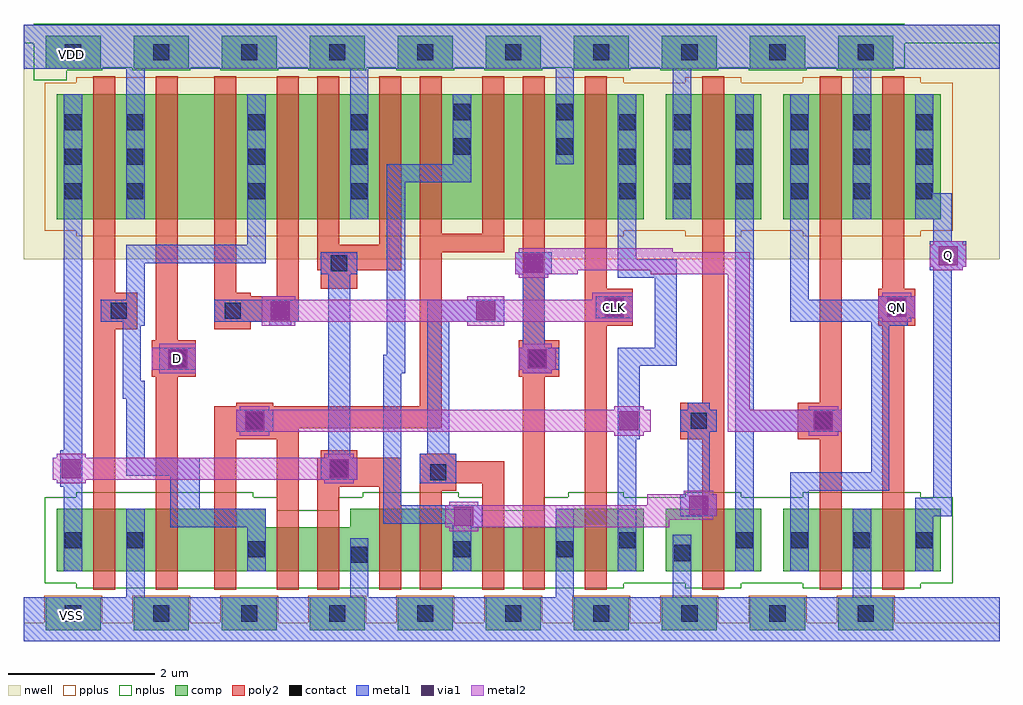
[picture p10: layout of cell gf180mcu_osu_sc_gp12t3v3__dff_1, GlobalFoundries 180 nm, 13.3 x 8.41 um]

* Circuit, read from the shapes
.subckt gf180mcu_osu_sc_gp12t3v3__dff_1 CLK D Q QN VDD VSS
XM1 VSS n1 n2 VSS nfet_03v3 w=0.85u l=0.3u
XM2 n3 D VSS VSS nfet_03v3 w=0.85u l=0.3u
XM3 n1 n4 n3 VSS nfet_03v3 w=0.85u l=0.3u
XM4 n5 n4 n1 VSS nfet_03v3 w=0.6u l=0.3u
XM5 VSS n2 n5 VSS nfet_03v3 w=0.6u l=0.3u
XM6 n6 n2 VSS VSS nfet_03v3 w=0.85u l=0.3u
XM7 n7 CLK n6 VSS nfet_03v3 w=0.85u l=0.3u
XM8 n8 CLK n7 VSS nfet_03v3 w=0.6u l=0.3u
XM9 VSS n9 n8 VSS nfet_03v3 w=0.6u l=0.3u
XM10 n4 CLK VSS VSS nfet_03v3 w=0.85u l=0.3u
XM11 n9 n7 VSS VSS nfet_03v3 w=0.85u l=0.3u
XM12 VSS n9 QN VSS nfet_03v3 w=0.85u l=0.3u
XM13 Q QN VSS VSS nfet_03v3 w=0.85u l=0.3u
XM14 VDD n1 n2 VDD pfet_03v3 w=1.7u l=0.3u
XM15 n10 D VDD VDD pfet_03v3 w=1.7u l=0.3u
XM16 n1 CLK n10 VDD pfet_03v3 w=1.7u l=0.3u
XM17 n11 CLK n1 VDD pfet_03v3 w=1.7u l=0.3u
XM18 VDD n2 n11 VDD pfet_03v3 w=1.7u l=0.3u
XM19 n12 n2 VDD VDD pfet_03v3 w=1.7u l=0.3u
XM20 n7 n4 n12 VDD pfet_03v3 w=1.7u l=0.3u
XM21 n13 n4 n7 VDD pfet_03v3 w=1.7u l=0.3u
XM22 VDD n9 n13 VDD pfet_03v3 w=1.7u l=0.3u
XM23 n4 CLK VDD VDD pfet_03v3 w=1.7u l=0.3u
XM24 n9 n7 VDD VDD pfet_03v3 w=1.7u l=0.3u
XM25 VDD n9 QN VDD pfet_03v3 w=1.7u l=0.3u
XM26 Q QN VDD VDD pfet_03v3 w=1.7u l=0.3u
.ends

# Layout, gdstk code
import gdstk
lib = gdstk.Library(unit=1e-6, precision=1e-09)
def R(c, l, rs):  # rectangles x0, y0, x1, y1
    for r in rs: c.add(gdstk.rectangle(r[:2], r[2:], *l))
def A(c, l, x, y, w, h, nx, ny, dx, dy):  # array of equal rectangles
    R(c, l, [(x+i*dx, y+j*dy, x+i*dx+w, y+j*dy+h) for i in range(nx) for j in range(ny)])
nwell = (21, 0)
comp = (22, 0)
poly2 = (30, 0)
pplus = (31, 0)
nplus = (32, 0)
contact = (33, 0)
metal1 = (34, 0)
via1 = (35, 0)
metal2 = (36, 0)

gf180mcu_osu_sc_gp12t3v3 = lib.new_cell('gf180mcu_osu_sc_gp12t3v3__dff_1')
R(gf180mcu_osu_sc_gp12t3v3, nwell, [(0,5.2,13.3,8.4)])
A(gf180mcu_osu_sc_gp12t3v3, comp, 0.3, 0.15, 0.75, 0.45, 10, 2, 1.2, 7.65)
R(gf180mcu_osu_sc_gp12t3v3, comp, [(0.45,0.95,8.45,1.55), (8.75,0.95,10.05,1.8), (10.35,0.95,12.5,1.8), (0.45,1.55,3.3,1.8), (4.45,1.55,6.1,1.8), (7.25,1.55,8.45,1.8), (0.45,5.75,8.45,7.45), (8.75,5.75,10.05,7.45), (10.35,5.75,12.5,7.45)])
R(gf180mcu_osu_sc_gp12t3v3, poly2, [(0.95,0.7,1.25,4.25), (1.8,0.7,2.1,3.6), (2.6,0.7,2.9,2.75), (3.45,0.7,3.75,2.75), (4,0.7,4.3,2.1), (4.85,0.7,5.15,2.1), (5.4,0.7,5.7,2.05), (6.25,0.7,6.55,2.15), (6.8,0.7,7.1,3.6), (7.65,0.7,7.95,4.3), (9.25,0.7,9.55,2.75), (10.85,0.7,11.15,2.75), (11.7,0.7,12,4.3), (5.4,2.05,5.9,2.15), (4,2.1,5.15,2.5), (5.4,2.15,6.55,2.45), (5.4,2.45,5.9,2.55), (4.05,2.5,4.55,2.6), (2.6,2.75,3.75,2.9), (8.95,2.75,9.55,3.25), (10.55,2.75,11.15,3.25), (2.6,2.9,5.7,3.2), (2.9,3.2,3.4,3.25), (5.4,3.2,5.7,5.3), (9.25,3.25,9.55,7.7), (10.85,3.25,11.15,7.7), (1.75,3.6,2.35,4.1), (6.75,3.6,7.3,4.1), (1.8,4.1,2.1,7.7), (6.8,4.1,7.1,7.7), (0.95,4.25,1.55,4.75), (2.6,4.25,3.1,4.35), (7.65,4.3,8.3,4.8), (11.65,4.3,12.15,4.8), (2.6,4.35,3.75,4.7), (2.6,4.7,3.1,4.75), (3.45,4.7,3.75,7.7), (0.95,4.75,1.25,7.7), (2.6,4.75,2.9,7.7), (4.05,4.8,4.55,5.05), (7.65,4.8,7.95,7.7), (11.7,4.8,12,7.7), (4,5.05,5.15,5.4), (5.4,5.3,6.55,5.55), (4,5.4,4.3,7.7), (4.85,5.4,5.15,7.7), (5.4,5.55,5.7,7.7), (6.25,5.55,6.55,7.7)])
A(gf180mcu_osu_sc_gp12t3v3, pplus, 0.28, 0.13, 0.79, 0.49, 10, 1, 1.2, 0)
R(gf180mcu_osu_sc_gp12t3v3, pplus, [(0,0,13.3,0.25), (0.72,5.52,8.18,5.59), (9.02,5.52,9.78,5.59), (10.62,5.52,12.23,5.59), (0.29,5.59,12.66,7.61), (0.72,7.61,8.18,7.68), (9.02,7.61,9.78,7.68), (10.62,7.61,12.23,7.68)])
A(gf180mcu_osu_sc_gp12t3v3, nplus, 1.48, 7.78, 0.79, 0.03, 9, 1, 1.2, 0)
R(gf180mcu_osu_sc_gp12t3v3, nplus, [(0.72,0.72,8.18,0.79), (9.02,0.72,9.78,0.79), (10.62,0.72,12.23,0.79), (0.29,0.79,12.66,1.78), (0.29,1.78,3.46,1.96), (4.29,1.78,6.26,1.96), (7.09,1.78,12.66,1.96), (0.72,1.96,3.13,2.03), (4.62,1.96,5.93,2.03), (7.42,1.96,8.18,2.03), (9.02,1.96,9.78,2.03), (10.62,1.96,12.23,2.03), (0.14,7.64,0.59,7.78), (0.14,7.78,1.07,7.81), (0.14,7.81,12.01,8.15), (0,8.15,13.3,8.4), (0,8.15,13.3,8.4), (0.14,8.4,12.01,8.41)])
A(gf180mcu_osu_sc_gp12t3v3, contact, 0.565, 0.265, 0.22, 0.22, 10, 2, 1.2, 7.65)
A(gf180mcu_osu_sc_gp12t3v3, contact, 10.465, 1.265, 0.22, 0.22, 3, 2, 0.85, 4.755)
A(gf180mcu_osu_sc_gp12t3v3, contact, 0.565, 6.02, 0.22, 0.22, 1, 3, 0, 0.47)
A(gf180mcu_osu_sc_gp12t3v3, contact, 1.415, 6.02, 0.22, 0.22, 1, 3, 0, 0.47)
A(gf180mcu_osu_sc_gp12t3v3, contact, 3.065, 6.02, 0.22, 0.22, 1, 3, 0, 0.47)
A(gf180mcu_osu_sc_gp12t3v3, contact, 4.465, 6.02, 0.22, 0.22, 1, 3, 0, 0.47)
A(gf180mcu_osu_sc_gp12t3v3, contact, 8.115, 6.02, 0.22, 0.22, 1, 3, 0, 0.47)
A(gf180mcu_osu_sc_gp12t3v3, contact, 8.865, 6.02, 0.22, 0.22, 1, 3, 0, 0.47)
A(gf180mcu_osu_sc_gp12t3v3, contact, 9.715, 6.02, 0.22, 0.22, 1, 3, 0, 0.47)
A(gf180mcu_osu_sc_gp12t3v3, contact, 10.465, 6.49, 0.22, 0.22, 3, 2, 0.85, 0.47)
R(gf180mcu_osu_sc_gp12t3v3, contact, [(4.465,1.065,4.685,1.285), (8.865,1.09,9.085,1.31), (3.065,1.14,3.285,1.36), (5.865,1.14,6.085,1.36), (7.265,1.14,7.485,1.36), (0.565,1.265,0.785,1.485), (1.415,1.265,1.635,1.485), (8.115,1.265,8.335,1.485), (9.715,1.265,9.935,1.485), (5.54,2.19,5.76,2.41), (4.19,2.24,4.41,2.46), (3.04,2.89,3.26,3.11), (9.09,2.89,9.31,3.11), (10.79,2.89,11.01,3.11), (1.99,3.74,2.21,3.96), (6.89,3.74,7.11,3.96), (1.19,4.39,1.41,4.61), (2.74,4.39,2.96,4.61), (7.94,4.44,8.16,4.66), (11.79,4.44,12.01,4.66), (4.19,5.04,4.41,5.26), (5.865,6.63,6.085,6.85), (7.265,6.63,7.485,6.85), (5.865,7.1,6.085,7.32), (7.265,7.1,7.485,7.32)])
R(gf180mcu_osu_sc_gp12t3v3, metal1, [(0,0,13.3,0.6), (1.4,0.6,1.65,1.8), (4.45,0.6,4.7,1.4), (7.25,0.6,7.5,1.8), (8.85,0.6,9.1,1.45), (11.3,0.6,11.55,1.8), (0.55,0.95,0.8,2.1), (3.05,0.95,3.3,1.55), (5.85,0.95,6.1,1.55), (8.1,0.95,8.35,2.75), (9.7,0.95,9.95,2.85), (10.45,0.95,10.7,2.05), (12.15,0.95,12.4,1.7), (2,1.55,3.3,1.8), (5.85,1.55,6.25,1.6), (4.9,1.6,6.25,1.85), (8.95,1.7,9.45,2), (12.15,1.7,12.65,1.95), (2,1.8,2.4,2.25), (4.9,1.85,5.15,3.65), (12.4,1.95,12.65,5.05), (9.05,2,9.35,2.85), (10.45,2.05,11.8,2.3), (0.5,2.1,0.8,2.6), (5.4,2.15,5.9,2.55), (4.05,2.2,4.55,2.5), (1.4,2.25,2.4,2.5), (11.55,2.3,11.8,4.3), (1.4,2.5,1.65,3.3), (4.15,2.5,4.45,5), (5.5,2.55,5.8,4.35), (0.55,2.6,0.8,7.45), (8.1,2.75,8.4,3.75), (2.9,2.85,3.4,3.15), (8.95,2.85,9.45,3.15), (9.7,2.85,11.15,3.15), (9.05,3.15,9.35,3.25), (9.7,3.15,9.95,7.45), (1.35,3.3,1.65,3.55), (1.35,3.55,1.6,4.3), (4.9,3.65,5.2,3.9), (6.8,3.65,7.2,3.7), (1.85,3.7,2.35,4), (6.75,3.7,7.3,4), (8.1,3.75,8.9,4), (4.95,3.9,5.2,6.25), (6.8,4,7.1,5), (8.6,4,8.9,4.95), (1.35,4.3,1.65,4.35), (3.35,4.3,3.65,4.35), (11.55,4.3,12.05,4.35), (1.05,4.35,1.65,4.65), (2.6,4.35,3.75,4.65), (5.5,4.35,6.55,4.65), (10.45,4.35,12.05,4.4), (7.8,4.4,8.3,4.7), (10.45,4.4,12.15,4.65), (1.4,4.65,1.65,5.15), (10.45,4.65,10.7,7.45), (11.65,4.65,12.15,4.7), (8.1,4.95,8.9,5.2), (4.05,5,4.55,5.3), (6.7,5,7.2,5.3), (12.35,5.05,12.8,5.1), (12.35,5.1,12.85,5.45), (1.4,5.15,3.3,5.4), (8.1,5.2,8.35,7.45), (3.05,5.4,3.3,7.45), (12.4,5.45,12.65,5.75), (1.4,5.75,1.65,7.8), (4.45,5.75,4.7,7.8), (8.85,5.75,9.1,7.8), (11.3,5.75,11.55,7.8), (12.15,5.75,12.65,6.1), (12.15,6.1,12.4,7.45), (4.95,6.25,6.1,6.5), (5.85,6.5,6.1,7.45), (7.25,6.5,7.5,7.8), (0,7.8,13.3,8.4)])
R(gf180mcu_osu_sc_gp12t3v3, via1, [(5.87,1.57,6.13,1.83), (9.07,1.72,9.33,1.98), (0.52,2.22,0.78,2.48), (4.17,2.22,4.43,2.48), (3.02,2.87,3.28,3.13), (8.12,2.87,8.38,3.13), (10.77,2.87,11.03,3.13), (1.97,3.72,2.23,3.98), (6.87,3.72,7.13,3.98), (3.37,4.37,3.63,4.63), (6.17,4.37,6.43,4.63), (7.92,4.42,8.18,4.68), (11.77,4.42,12.03,4.68), (6.82,5.02,7.08,5.28), (12.47,5.12,12.73,5.38)])
R(gf180mcu_osu_sc_gp12t3v3, metal2, [(5.8,1.5,6.2,1.55), (5.75,1.55,8.8,1.65), (5.75,1.65,9.4,1.7), (5.75,1.7,9.45,1.85), (5.8,1.85,6.2,1.9), (8.5,1.85,9.45,2), (9,2,9.4,2.05), (0.45,2.15,0.85,2.2), (4.1,2.15,4.5,2.2), (0.4,2.2,4.55,2.5), (0.45,2.5,0.85,2.55), (4.1,2.5,4.5,2.55), (2.95,2.8,3.35,2.85), (8.05,2.8,8.45,2.85), (10.7,2.8,11.1,2.85), (2.9,2.85,8.55,3.15), (9.6,2.85,11.15,3.15), (2.95,3.15,3.35,3.2), (8.05,3.15,8.45,3.2), (9.6,3.15,9.9,5), (10.7,3.15,11.1,3.2), (1.85,3.65,2.35,3.7), (6.8,3.65,7.2,3.7), (1.75,3.7,2.35,4), (6.75,3.7,7.25,4), (1.85,4,2.35,4.05), (6.8,4,7.2,4.05), (3.25,4.3,3.7,4.35), (6.05,4.3,6.55,4.35), (3.25,4.35,8.3,4.65), (11.7,4.35,12.1,4.4), (11.65,4.4,12.15,4.7), (3.25,4.65,3.7,4.7), (6.05,4.65,6.55,4.7), (7.75,4.65,8.3,4.75), (11.7,4.7,12.1,4.75), (6.75,4.95,7.15,5), (6.7,5,7.55,5.05), (8.55,5,9.9,5.05), (6.7,5.05,9.9,5.3), (12.4,5.05,12.8,5.1), (12.35,5.1,12.85,5.4), (6.75,5.3,8.85,5.35), (12.4,5.4,12.8,5.45)])
gf180mcu_osu_sc_gp12t3v3.add(gdstk.Label('D', (2.1,3.85), layer=36, texttype=10))
gf180mcu_osu_sc_gp12t3v3.add(gdstk.Label('CLK', (8.05,4.55), layer=36, texttype=10))
gf180mcu_osu_sc_gp12t3v3.add(gdstk.Label('Q', (12.6,5.25), layer=36, texttype=10))
gf180mcu_osu_sc_gp12t3v3.add(gdstk.Label('QN', (11.9,4.55), layer=36, texttype=10))
gf180mcu_osu_sc_gp12t3v3.add(gdstk.Label('VDD', (0.65,8), layer=34, texttype=10))
gf180mcu_osu_sc_gp12t3v3.add(gdstk.Label('VSS', (0.65,0.35), layer=34, texttype=10))

lib.write_gds('gf180mcu_osu_sc_gp12t3v3__dff_1.gds')
